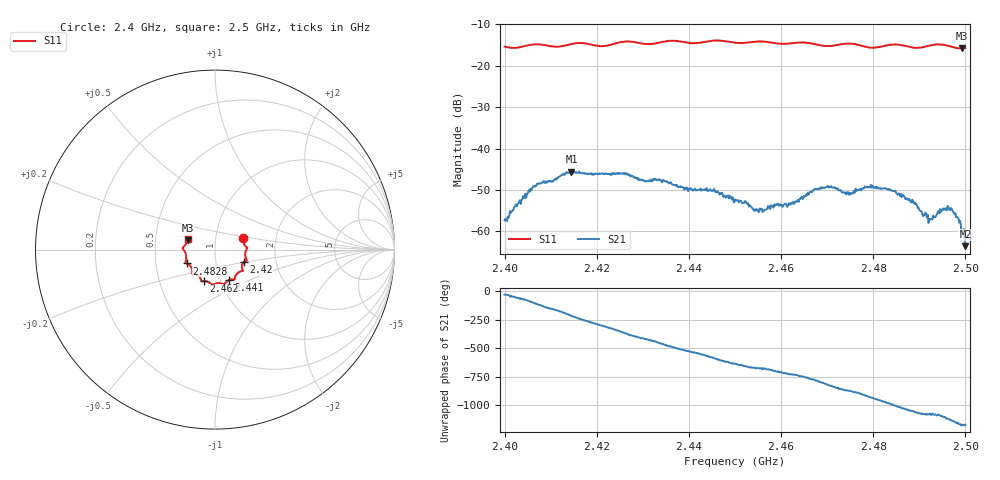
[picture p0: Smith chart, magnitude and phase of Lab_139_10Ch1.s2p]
# Hz S RI R 50
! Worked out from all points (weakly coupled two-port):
!   601 points, 2.4 GHz to 2.5 GHz, reference 50 ohm
!   highest |S21| = -45.55 dB at 2.4145 GHz (marker M1); lowest = -63.6 dB at 2.5 GHz (marker M2)
!   lowest |S11| = -15.8 dB at 2.4993 GHz (marker M3), VSWR 1.39, Z = 36.5 + j3.87 ohm
!   |S11| at or under -10 dB: start of sweep to end of sweep
!   S12 and S22 are empty: the file has one direction only
!   S11 on the Smith chart (normalised r, x): 2.4 GHz: 1.36, +0.18; 2.42 GHz: 1.36, -0.20; 2.441 GHz: 1.10, -0.39; 2.462 GHz: 0.84, -0.30; 2.4828 GHz: 0.72, -0.11; 2.5 GHz: 0.73, +0.09
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2.4e9  0.1575 0.063  0.00116 -0.000693  0 0  0 0
2.406667e9  0.1806 0.0109  -0.000918 -0.00334  0 0  0 0
2.4145e9  0.1748 -0.0526  -0.00422 0.00317  0 0  0 0
2.416667e9  0.178 -0.06  -0.002 0.0046  0 0  0 0
2.42e9  0.1594 -0.0697  0.00154 0.00473  0 0  0 0
2.433333e9  0.1124 -0.1511  -0.000138 -0.00423  0 0  0 0
2.441e9  0.0783 -0.1696  -0.00315 -0.000103  0 0  0 0
2.445e9  0.0534 -0.1929  -0.00233 0.002  0 0  0 0
2.45e9  0.0285 -0.1873  0.000238 0.0024  0 0  0 0
2.454667e9  -0.0102 -0.1951  0.0013 0.00132  0 0  0 0
2.462e9  -0.0604 -0.1756  0.00211 -0.000299  0 0  0 0
2.466667e9  -0.0778 -0.1681  0.00176 -0.00239  0 0  0 0
2.470333e9  -0.0981 -0.1418  -0.000859 -0.00327  0 0  0 0
2.474667e9  -0.1262 -0.135  -0.00266 -0.0013  0 0  0 0
2.479e9  -0.1293 -0.1047  -0.00313 0.00146  0 0  0 0
2.482833e9  -0.1575 -0.0773  -0.000792 0.00318  0 0  0 0
2.483333e9  -0.1606 -0.076  -0.000368 0.00314  0 0  0 0
2.489e9  -0.1604 -0.0366  0.00202 0.000721  0 0  0 0
2.492333e9  -0.1756 0.000342  0.00137 0.000179  0 0  0 0
2.496667e9  -0.1702 0.0201  0.00118 -0.00137  0 0  0 0
2.499333e9  -0.1531 0.0516  -0.000109 -0.000939  0 0  0 0
2.5e9  -0.1517 0.0611  -4.2e-05 -0.000661  0 0  0 0
